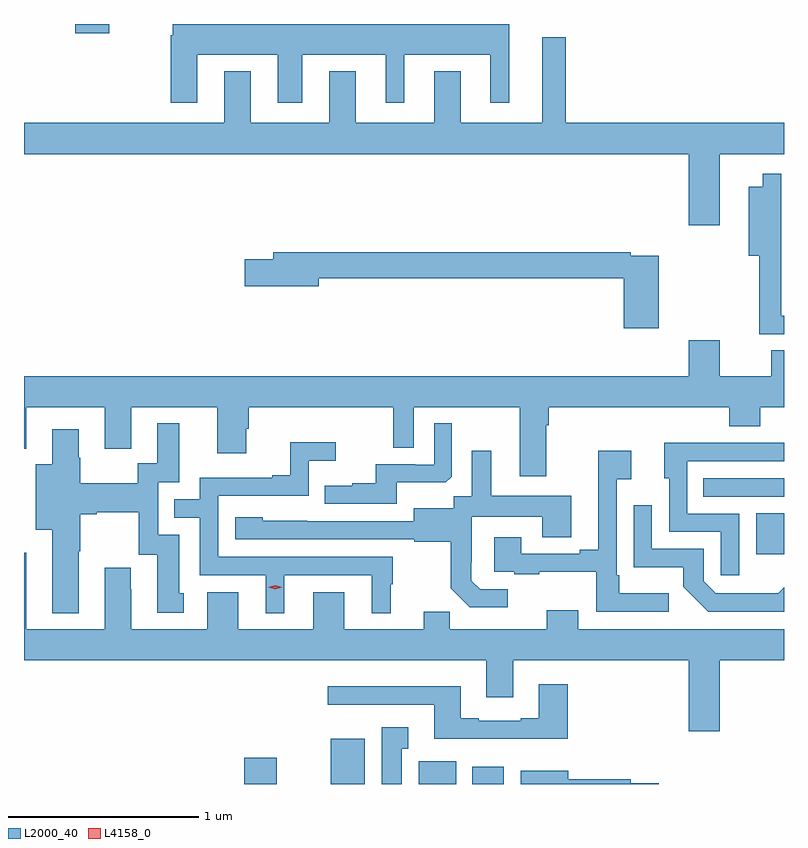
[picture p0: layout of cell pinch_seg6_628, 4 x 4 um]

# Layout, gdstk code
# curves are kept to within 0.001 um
import gdstk
lib = gdstk.Library(unit=1e-6, precision=1e-09)
def R(c, l, rs):  # rectangles x0, y0, x1, y1
    for r in rs: c.add(gdstk.rectangle(r[:2], r[2:], *l))
def P(c, l, *ps):  # polygons
    for p in ps: c.add(gdstk.Polygon(p, *l))
L2000_40 = (2000, 40)
L4158_0 = (4158, 0)

pinch_seg6_628 = lib.new_cell('pinch_seg6_628')
R(pinch_seg6_628, L2000_40, [(414.416,937.361,414.586,937.498), (414.872,937.361,415.051,937.6), (415.334,937.361,415.531,937.48), (415.616,937.361,415.783,937.453), (417.11,938.57,417.257,938.785), (416.833,938.874,417.257,938.97), (413.528,941.313,413.706,941.361)])
P(pinch_seg6_628, L2000_40, [(414.169,941.198),(414.593,941.198),(414.593,940.947),(414.721,940.947),(414.721,941.198),(415.16,941.198),(415.16,940.947),(415.258,940.947),(415.258,941.198),(415.712,941.198),(415.712,940.947),(415.81,940.947),(415.81,941.361),(414.041,941.361),(414.041,941.302),(414.029,941.302),(414.029,940.947),(414.169,940.947)],
  [(416.92,940.676),(417.257,940.676),(417.257,940.84),(416.107,940.84),(416.107,941.29),(415.985,941.29),(415.985,940.84),(415.555,940.84),(415.555,941.113),(415.415,941.113),(415.415,940.84),(415.003,940.84),(415.003,941.113),(414.863,941.113),(414.863,940.84),(414.451,940.84),(414.451,941.113),(414.311,941.113),(414.311,940.84),(413.257,940.84),(413.257,940.676),(416.756,940.676),(416.756,940.302),(416.92,940.302)],
  [(417.257,939.825),(417.243,939.825),(417.243,940.573),(417.145,940.573),(417.145,940.504),(417.071,940.504),(417.071,940.142),(417.127,940.142),(417.127,939.729),(417.257,939.729)],
  [(416.597,940.14),(416.45,940.14),(416.45,940.16),(414.569,940.16),(414.569,940.124),(414.42,940.124),(414.42,939.982),(414.808,939.982),(414.808,940.024),(416.414,940.024),(416.414,939.759),(416.597,939.759)],
  [(416.005,939.248),(416.018,939.248),(416.018,939.344),(416.969,939.344),(416.969,939.245),(417.133,939.245),(417.133,939.344),(417.257,939.344),(417.257,939.644),(417.191,939.644),(417.191,939.508),(416.92,939.508),(416.92,939.697),(416.756,939.697),(416.756,939.508),(413.257,939.508),(413.257,939.126),(413.269,939.126),(413.269,939.344),(413.681,939.344),(413.681,939.126),(413.821,939.126),(413.821,939.344),(414.275,939.344),(414.275,939.102),(414.427,939.102),(414.427,939.231),(414.44,939.231),(414.44,939.344),(415.2,939.344),(415.2,939.13),(415.308,939.13),(415.308,939.344),(415.865,939.344),(415.865,938.982),(416.005,938.982)],
  [(415.219,938.948),(415.477,938.948),(415.509,938.979),(415.509,939.259),(415.416,939.259),(415.416,939.042),(415.316,939.042),(415.316,939.045),(415.109,939.045),(415.109,938.944),(414.985,938.944),(414.985,938.932),(414.841,938.932),(414.841,938.835),(415.219,938.835)],
  [(413.545,938.587),(413.553,938.587),(413.553,938.78),(413.641,938.78),(413.641,938.792),(413.861,938.792),(413.861,938.568),(413.957,938.568),(413.957,938.262),(414.097,938.262),(414.097,938.364),(414.073,938.364),(414.073,938.673),(413.964,938.673),(413.964,938.949),(414.073,938.949),(414.073,939.259),(413.957,939.259),(413.957,939.05),(413.856,939.05),(413.856,938.944),(413.553,938.944),(413.553,939.078),(413.545,939.078),(413.545,939.229),(413.405,939.229),(413.405,939.043),(413.318,939.043),(413.318,938.699),(413.405,938.699),(413.405,938.261),(413.545,938.261)],
  [(414.628,938.46),(415.088,938.46),(415.088,938.261),(415.186,938.261),(415.186,938.412),(415.198,938.412),(415.198,938.556),(414.279,938.556),(414.279,938.877),(414.756,938.877),(414.756,939.062),(414.898,939.062),(414.898,939.161),(414.658,939.161),(414.658,938.986),(414.563,938.986),(414.563,938.973),(414.183,938.973),(414.183,938.859),(414.049,938.859),(414.049,938.763),(414.183,938.763),(414.183,938.46),(414.53,938.46),(414.53,938.261),(414.628,938.261)],
  [(417.021,938.784),(416.748,938.784),(416.748,939.06),(417.257,939.06),(417.257,939.156),(416.845,939.156),(416.845,939.158),(416.627,939.158),(416.627,938.97),(416.652,938.97),(416.652,938.688),(416.925,938.688),(416.925,938.46),(417.021,938.46)],
  [(415.804,938.385),(415.659,938.385),(415.612,938.432),(415.612,938.527),(415.614,938.527),(415.614,938.768),(415.985,938.768),(415.985,938.659),(416.137,938.659),(416.137,938.878),(415.717,938.878),(415.717,939.115),(415.613,939.115),(415.613,938.876),(415.518,938.876),(415.518,938.812),(415.307,938.812),(415.307,938.745),(414.513,938.746),(414.513,938.764),(414.369,938.764),(414.369,938.649),(415.311,938.649),(415.311,938.637),(415.503,938.637),(415.503,938.391),(415.603,938.291),(415.804,938.291)],
  [(416.65,938.365),(416.389,938.365),(416.389,938.461),(416.376,938.461),(416.376,938.966),(416.452,938.966),(416.452,939.115),(416.279,939.115),(416.279,938.593),(416.183,938.593),(416.183,938.574),(415.873,938.574),(415.873,938.659),(415.733,938.659),(415.733,938.478),(415.837,938.478),(415.837,938.466),(415.969,938.466),(415.969,938.477),(416.268,938.477),(416.268,938.268),(416.65,938.268)],
  [(417.257,938.396),(417.227,938.366),(417.122,938.366),(417.122,938.364),(416.898,938.364),(416.835,938.427),(416.835,938.598),(416.562,938.598),(416.562,938.827),(416.466,938.827),(416.466,938.501),(416.728,938.501),(416.728,938.399),(416.858,938.268),(417.257,938.268)],
  [(416.92,938.012),(417.257,938.012),(417.257,938.176),(416.173,938.176),(416.173,938.275),(416.009,938.275),(416.009,938.176),(415.499,938.176),(415.499,938.267),(415.361,938.267),(415.361,938.176),(414.943,938.176),(414.943,938.371),(414.779,938.371),(414.779,938.176),(414.385,938.176),(414.385,938.371),(414.221,938.371),(414.221,938.176),(413.821,938.176),(413.821,938.387),(413.818,938.387),(413.818,938.5),(413.681,938.5),(413.681,938.176),(413.269,938.176),(413.269,938.578),(413.257,938.578),(413.257,938.012),(415.691,938.012),(415.691,937.818),(415.831,937.818),(415.831,938.012),(416.756,938.012),(416.756,937.638),(416.92,937.638)],
  [(416.12,937.885),(415.967,937.885),(415.967,937.708),(415.871,937.708),(415.871,937.695),(415.651,937.695),(415.651,937.708),(415.555,937.708),(415.555,937.876),(414.855,937.876),(414.855,937.779),(415.415,937.779),(415.415,937.598),(416.12,937.598)],
  [(415.246,937.547),(415.279,937.547),(415.279,937.66),(415.139,937.66),(415.139,937.361),(415.246,937.361)],
  [(416.597,937.365),(416.45,937.365),(416.45,937.385),(416.122,937.385),(416.122,937.432),(415.871,937.432),(415.871,937.361),(416.597,937.361)])
P(pinch_seg6_628, L4158_0, [(414.579,938.387),(414.543,938.397),(414.543,938.397),(414.543,938.397),(414.579,938.407),(414.615,938.397),(414.615,938.397),(414.615,938.397)])

lib.write_gds('pinch_seg6_628.gds')
